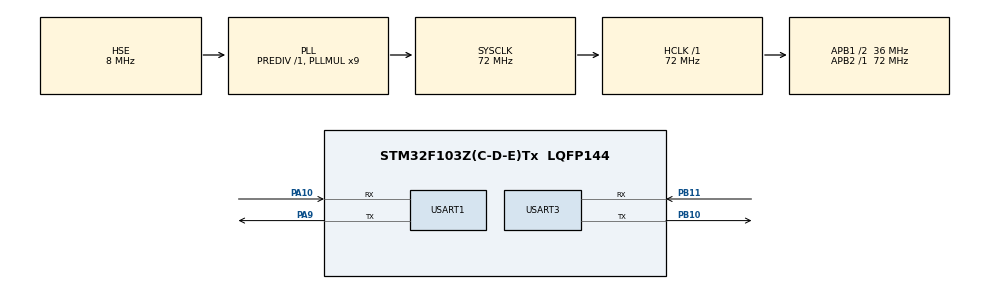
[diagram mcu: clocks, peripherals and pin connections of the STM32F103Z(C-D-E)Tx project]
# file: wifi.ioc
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Mcu.Family=STM32F1
Mcu.Name=STM32F103Z(C-D-E)Tx
Mcu.Package=LQFP144
NVIC.PriorityGroup=NVIC_PRIORITYGROUP_4
NVIC.USART1_IRQn=true\:0\:0\:false\:false\:true\:true\:true\:true
NVIC.USART3_IRQn=true\:0\:0\:false\:false\:true\:true\:true\:true
OSC_IN.Mode=HSE-External-Oscillator
OSC_IN.Signal=RCC_OSC_IN
OSC_OUT.Mode=HSE-External-Oscillator
OSC_OUT.Signal=RCC_OSC_OUT
PA10.Mode=Asynchronous
PA10.Signal=USART1_RX
PA13.Mode=Serial_Wire
PA13.Signal=SYS_JTMS-SWDIO
PA14.Mode=Serial_Wire
PA14.Signal=SYS_JTCK-SWCLK
PA9.Mode=Asynchronous
PA9.Signal=USART1_TX
PB10.Mode=Asynchronous
PB10.Signal=USART3_TX
PB11.Mode=Asynchronous
PB11.Signal=USART3_RX
ProjectManager.HeapSize=0x200
ProjectManager.StackSize=0x400
ProjectManager.TargetToolchain=MDK-ARM V5
RCC.AHBFreq_Value=72000000
RCC.APB1CLKDivider=RCC_HCLK_DIV2
RCC.APB1Freq_Value=36000000
RCC.APB1TimFreq_Value=72000000
RCC.APB2Freq_Value=72000000
RCC.APB2TimFreq_Value=72000000
RCC.HCLKFreq_Value=72000000
RCC.PLLMUL=RCC_PLL_MUL9
RCC.PLLSourceVirtual=RCC_PLLSOURCE_HSE
RCC.SYSCLKFreq_VALUE=72000000
RCC.SYSCLKSource=RCC_SYSCLKSOURCE_PLLCLK
RCC.USBFreq_Value=72000000
USART1.VirtualMode=VM_ASYNC
USART3.VirtualMode=VM_ASYNC
board=custom

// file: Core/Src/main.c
/* USER CODE BEGIN Header */
/**
  ******************************************************************************
  * @file           : main.c
  * @brief          : Main program body
  ******************************************************************************
  * @attention
  *
  * Copyright (c) 2024 STMicroelectronics.
  * All rights reserved.
  *
  * This software is licensed under terms that can be found in the LICENSE file
  * in the root directory of this software component.
  * If no LICENSE file comes with this software, it is provided AS-IS.
  *
  ******************************************************************************
  */
/* USER CODE END Header */
#include "main.h"
#include "usart.h"
#include "gpio.h"

/* USER CODE BEGIN Includes */
#include "wifi.h"
#include "dht11.h"
#include "delay.h"
#include "led.h"
#include "lcd.h"
/* USER CODE END Includes */

void SystemClock_Config(void);

/* USER CODE BEGIN 0 */
uint8_t temperature;
uint8_t humidity;
uint8_t LED_Switch;
/* USER CODE END 0 */

int main(void)
{
  /* USER CODE BEGIN 1 */
uint16_t time = 0;
  /* USER CODE END 1 */

  /* MCU Configuration--------------------------------------------------------*/

  /* Reset of all peripherals, Initializes the Flash interface and the Systick. */
  HAL_Init();

  /* Configure the system clock */
  SystemClock_Config();

  /* Initialize all configured peripherals */
  MX_GPIO_Init();
  MX_USART3_UART_Init();
  MX_USART1_UART_Init();

  /* USER CODE BEGIN 2 */
  delay_init(72);
  led_init();
  wifi_init();
  dht11_init();
  atk_mw8266d_uart_rx_restart();
  lcd_init();                         /* 初始化LCD */
  lcd_show_string(30, 130, 200, 16, 16, "Temp:  C", BLUE);
  lcd_show_string(30, 150, 200, 16, 16, "Humi:  %", BLUE);
  lcd_show_string(30, 170, 200, 16, 16, "LED:  ", BLUE);
  lcd_show_string(30, 190, 220, 16, 16, "time:  ", BLUE);
 // HAL_Delay(10000);

  /* USER CODE END 2 */

  /* Infinite loop */
  while (1)
  {

	  // 获取温湿度
	  dht11_read_data(&temperature, &humidity);

	  // 解析云平台下发信息
	  rcv_json();
	  //HAL_Delay(5);

	  time++;
	  if(time>250 && LED_Switch == 0)
	  {
		  printf("H:%d，T:%d\r\n",humidity,temperature);
		  create_Json(temperature,humidity);
		  time = 0;
	  }

	  if(time>50 && LED_Switch == 1)
	  {
		  printf("H:%d，T:%d\r\n",humidity,temperature);
		  create_Json(temperature,humidity);
		  time = 0;
	  }

	  lcd_show_num(30 + 40, 130, temperature, 2, 16, BLUE); /* 显示温度 */
	  lcd_show_num(30 + 40, 150, humidity, 2, 16, BLUE);    /* 显示湿度 */
	  lcd_show_num(30 + 40, 170, LED_Switch, 1, 16, BLUE);    /* 显示湿度 */
	  lcd_show_num(30 + 40, 190, time, 3, 16, BLUE);    /* 显示湿度 */

	  //控制灯的亮灭
	  switch (LED_Switch){
		  case 1:
			LED0(0);                                /* LED0 亮 */
			LED1(1);                                /* LED1 灭 */
			delay_ms(50);
			LED0(1);                                /* LED0 灭 */
			LED1(0);                                /* LED1 亮 */
			delay_ms(50);
		  case 0:
			LED0(1);                                /* 关闭 LED0 */
			LED1(1);
	  }

  }
}

void SystemClock_Config(void)
{
  RCC_OscInitTypeDef RCC_OscInitStruct = {0};
  RCC_ClkInitTypeDef RCC_ClkInitStruct = {0};

  /** Initializes the RCC Oscillators according to the specified parameters
  * in the RCC_OscInitTypeDef structure.
  */
  RCC_OscInitStruct.OscillatorType = RCC_OSCILLATORTYPE_HSE;
  RCC_OscInitStruct.HSEState = RCC_HSE_ON;
  RCC_OscInitStruct.HSEPredivValue = RCC_HSE_PREDIV_DIV1;
  RCC_OscInitStruct.HSIState = RCC_HSI_ON;
  RCC_OscInitStruct.PLL.PLLState = RCC_PLL_ON;
  RCC_OscInitStruct.PLL.PLLSource = RCC_PLLSOURCE_HSE;
  RCC_OscInitStruct.PLL.PLLMUL = RCC_PLL_MUL9;
  if (HAL_RCC_OscConfig(&RCC_OscInitStruct) != HAL_OK)
  {
    Error_Handler();
  }

  /** Initializes the CPU, AHB and APB buses clocks
  */
  RCC_ClkInitStruct.ClockType = RCC_CLOCKTYPE_HCLK|RCC_CLOCKTYPE_SYSCLK
                              |RCC_CLOCKTYPE_PCLK1|RCC_CLOCKTYPE_PCLK2;
  RCC_ClkInitStruct.SYSCLKSource = RCC_SYSCLKSOURCE_PLLCLK;
  RCC_ClkInitStruct.AHBCLKDivider = RCC_SYSCLK_DIV1;
  RCC_ClkInitStruct.APB1CLKDivider = RCC_HCLK_DIV2;
  RCC_ClkInitStruct.APB2CLKDivider = RCC_HCLK_DIV1;

  if (HAL_RCC_ClockConfig(&RCC_ClkInitStruct, FLASH_LATENCY_2) != HAL_OK)
  {
    Error_Handler();
  }
}

void Error_Handler(void)
{
  __disable_irq();
  while (1)
  {
  }
}
